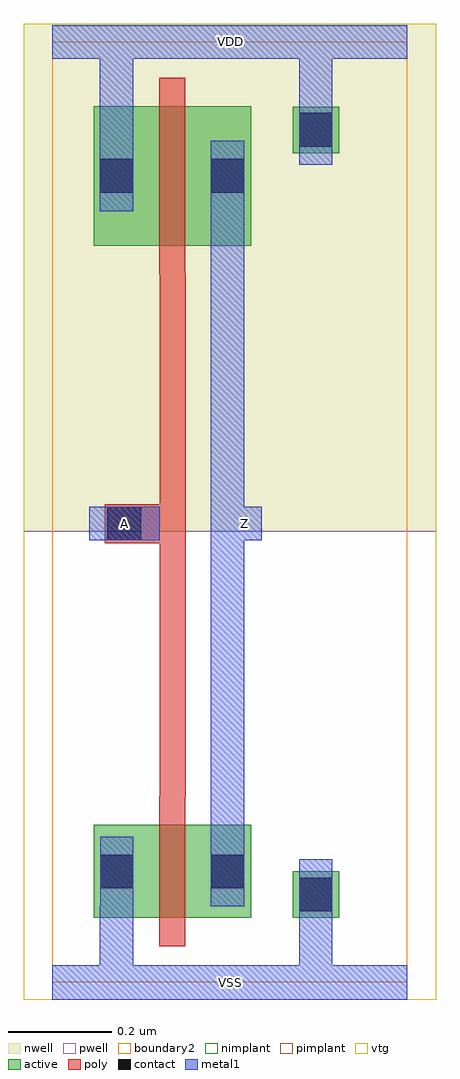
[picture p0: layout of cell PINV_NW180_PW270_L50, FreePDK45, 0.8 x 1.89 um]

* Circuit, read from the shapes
.subckt PINV_NW180_PW270_L50 A VDD VSS Z
M1 Z A VSS VSS nfet w=0.18u l=0.05u
M2 Z A VDD VDD pfet w=0.27u l=0.05u
.ends

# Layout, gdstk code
import gdstk
lib = gdstk.Library(unit=1e-6, precision=1e-09)
def R(c, l, rs):  # rectangles x0, y0, x1, y1
    for r in rs: c.add(gdstk.rectangle(r[:2], r[2:], *l))
active = (1, 0)
pwell = (2, 0)
nwell = (3, 0)
nimplant = (4, 0)
pimplant = (5, 0)
vtg = (6, 0)
poly = (9, 0)
contact = (10, 0)
metal1 = (11, 0)
boundary2 = (239, 0)

transmission_gate_nw250_ = lib.new_cell('TRANSMISSION_GATE_NW250_PW500_L50_contact_8')
R(transmission_gate_nw250_, active, [(0,0.022,0.09,0.112)])
R(transmission_gate_nw250_, nwell, [(-0.055,-0.033,0.145,0.168)])
R(transmission_gate_nw250_, pimplant, [(0,0.022,0.09,0.112)])
R(transmission_gate_nw250_, contact, [(0.013,0.035,0.077,0.1)])
R(transmission_gate_nw250_, metal1, [(0.013,0,0.077,0.135)])
R(transmission_gate_nw250_, boundary2, [(-0.055,-0.033,0.145,0.168)])

pinv_nw180_pw270_l50_pmo = lib.new_cell('PINV_NW180_PW270_L50_pmos_m1_w0_270_sm1_dm1_da_p')
R(pinv_nw180_pw270_l50_pmo, active, [(0,0,0.305,0.27)])
R(pinv_nw180_pw270_l50_pmo, nwell, [(-0.08,-0.08,0.385,0.35)])
R(pinv_nw180_pw270_l50_pmo, pimplant, [(0,0,0.305,0.27)])
R(pinv_nw180_pw270_l50_pmo, vtg, [(-0.08,-0.08,0.385,0.35)])
R(pinv_nw180_pw270_l50_pmo, poly, [(0.127,-0.055,0.177,0.325), (0.127,-0.055,0.177,0.325)])
R(pinv_nw180_pw270_l50_pmo, metal1, [(0.013,0.068,0.077,0.203), (0.227,0.068,0.292,0.203)])
R(pinv_nw180_pw270_l50_pmo, boundary2, [(-0.08,-0.08,0.385,0.35)])
pinv_nw180_pw270_l50_pmo.add(gdstk.Reference(transmission_gate_nw250_, (0,0.068)))
pinv_nw180_pw270_l50_pmo.add(gdstk.Reference(transmission_gate_nw250_, (0.215,0.068)))
pinv_nw180_pw270_l50_pmo.add(gdstk.Label('G', (0.152,0.135), layer=9, texttype=0))
pinv_nw180_pw270_l50_pmo.add(gdstk.Label('S', (0.045,0.135), layer=11, texttype=0))
pinv_nw180_pw270_l50_pmo.add(gdstk.Label('D', (0.26,0.135), layer=11, texttype=0))

c_transmission_gate_nw250_ = lib.new_cell('TRANSMISSION_GATE_NW250_PW500_L50_contact_7')
R(c_transmission_gate_nw250_, active, [(0,0.022,0.09,0.112)])
R(c_transmission_gate_nw250_, pwell, [(-0.055,-0.033,0.145,0.168)])
R(c_transmission_gate_nw250_, nimplant, [(0,0.022,0.09,0.112)])
R(c_transmission_gate_nw250_, contact, [(0.013,0.035,0.077,0.1)])
R(c_transmission_gate_nw250_, metal1, [(0.013,0,0.077,0.135)])
R(c_transmission_gate_nw250_, boundary2, [(-0.055,-0.033,0.145,0.168)])

pinv_nw180_pw270_l50_nmo = lib.new_cell('PINV_NW180_PW270_L50_nmos_m1_w0_180_sm1_dm1_da_p')
R(pinv_nw180_pw270_l50_nmo, active, [(0,0,0.305,0.18)])
R(pinv_nw180_pw270_l50_nmo, pwell, [(-0.08,-0.08,0.385,0.26)])
R(pinv_nw180_pw270_l50_nmo, nimplant, [(0,0,0.305,0.18)])
R(pinv_nw180_pw270_l50_nmo, vtg, [(-0.08,-0.08,0.385,0.26)])
R(pinv_nw180_pw270_l50_nmo, poly, [(0.127,-0.055,0.177,0.235), (0.127,-0.055,0.177,0.235)])
R(pinv_nw180_pw270_l50_nmo, metal1, [(0.013,0.022,0.077,0.157), (0.227,0.022,0.292,0.157)])
R(pinv_nw180_pw270_l50_nmo, boundary2, [(-0.08,-0.08,0.385,0.26)])
pinv_nw180_pw270_l50_nmo.add(gdstk.Reference(c_transmission_gate_nw250_, (0,0.022)))
pinv_nw180_pw270_l50_nmo.add(gdstk.Reference(c_transmission_gate_nw250_, (0.215,0.022)))
pinv_nw180_pw270_l50_nmo.add(gdstk.Label('G', (0.152,0.09), layer=9, texttype=0))
pinv_nw180_pw270_l50_nmo.add(gdstk.Label('S', (0.045,0.09), layer=11, texttype=0))
pinv_nw180_pw270_l50_nmo.add(gdstk.Label('D', (0.26,0.09), layer=11, texttype=0))

c_transmission_gate_nw250__ = lib.new_cell('TRANSMISSION_GATE_NW250_PW500_L50_contact_9')
R(c_transmission_gate_nw250__, active, [(0,0.022,0.09,0.112)])
R(c_transmission_gate_nw250__, nwell, [(-0.055,-0.033,0.145,0.168)])
R(c_transmission_gate_nw250__, nimplant, [(0,0.022,0.09,0.112)])
R(c_transmission_gate_nw250__, contact, [(0.013,0.035,0.077,0.1)])
R(c_transmission_gate_nw250__, metal1, [(0.013,0,0.077,0.135)])
R(c_transmission_gate_nw250__, boundary2, [(-0.055,-0.033,0.145,0.168)])

c_transmission_gate_nw250___ = lib.new_cell('TRANSMISSION_GATE_NW250_PW500_L50_contact_10')
R(c_transmission_gate_nw250___, active, [(0,0.022,0.09,0.112)])
R(c_transmission_gate_nw250___, pwell, [(-0.055,-0.033,0.145,0.168)])
R(c_transmission_gate_nw250___, pimplant, [(0,0.022,0.09,0.112)])
R(c_transmission_gate_nw250___, contact, [(0.013,0.035,0.077,0.1)])
R(c_transmission_gate_nw250___, metal1, [(0.013,0,0.077,0.135)])
R(c_transmission_gate_nw250___, boundary2, [(-0.055,-0.033,0.145,0.168)])

pinv_nw180_pw270_l50_con = lib.new_cell('PINV_NW180_PW270_L50_contact_11')
R(pinv_nw180_pw270_l50_con, poly, [(0.03,0,0.105,0.075)])
R(pinv_nw180_pw270_l50_con, contact, [(0.035,0.005,0.1,0.07)])
R(pinv_nw180_pw270_l50_con, metal1, [(0,0.005,0.135,0.07)])
R(pinv_nw180_pw270_l50_con, boundary2, [(0,0,0.135,0.075)])

pinv_nw180_pw270_l50_cor = lib.new_cell('PINV_NW180_PW270_L50_core')
R(pinv_nw180_pw270_l50_cor, pwell, [(-0.055,-0.033,0.743,0.873)])
R(pinv_nw180_pw270_l50_cor, nwell, [(-0.055,0.873,0.743,1.855)])
R(pinv_nw180_pw270_l50_cor, vtg, [(-0.055,-0.033,0.743,0.873), (-0.055,0.873,0.743,1.855)])
R(pinv_nw180_pw270_l50_cor, poly, [(0.208,0.36,0.258,1.37), (0.14,0.85,0.208,0.925)])
R(pinv_nw180_pw270_l50_cor, metal1, [(0,-0.033,0.687,0.033), (0.092,-0.033,0.157,0.147), (0.478,0,0.542,0.17), (0.307,0.147,0.372,1.627), (0.072,0.855,0.208,0.92), (0.34,0.855,0.405,0.92), (0.092,1.492,0.157,1.852), (0.478,1.65,0.542,1.82), (0,1.787,0.687,1.852)])
R(pinv_nw180_pw270_l50_cor, boundary2, [(0,0,0.687,1.82), (0,0,0.687,1.82)])
pinv_nw180_pw270_l50_cor.add(gdstk.Reference(pinv_nw180_pw270_l50_pmo, (0.08,1.425)))
pinv_nw180_pw270_l50_cor.add(gdstk.Reference(pinv_nw180_pw270_l50_nmo, (0.08,0.125)))
pinv_nw180_pw270_l50_cor.add(gdstk.Reference(c_transmission_gate_nw250__, (0.465,1.582)))
pinv_nw180_pw270_l50_cor.add(gdstk.Reference(c_transmission_gate_nw250___, (0.465,0.103)))
pinv_nw180_pw270_l50_cor.add(gdstk.Reference(pinv_nw180_pw270_l50_con, (0.072,0.85)))
pinv_nw180_pw270_l50_cor.add(gdstk.Label('A', (0.14,0.888), layer=11, texttype=0))
pinv_nw180_pw270_l50_cor.add(gdstk.Label('Z', (0.372,0.888), layer=11, texttype=0))
pinv_nw180_pw270_l50_cor.add(gdstk.Label('gnd', (0.344,0), layer=11, texttype=0))
pinv_nw180_pw270_l50_cor.add(gdstk.Label('vdd', (0.344,1.82), layer=11, texttype=0))

pinv_nw180_pw270_l50 = lib.new_cell('PINV_NW180_PW270_L50')
R(pinv_nw180_pw270_l50, metal1, [(0,-0.033,0.687,0.033), (0.072,0.855,0.208,0.92), (0.34,0.855,0.405,0.92), (0,1.787,0.687,1.852)])
R(pinv_nw180_pw270_l50, boundary2, [(0,0,0.687,1.82)])
pinv_nw180_pw270_l50.add(gdstk.Reference(pinv_nw180_pw270_l50_cor, (0,0)))
pinv_nw180_pw270_l50.add(gdstk.Label('A', (0.14,0.888), layer=11, texttype=0))
pinv_nw180_pw270_l50.add(gdstk.Label('Z', (0.372,0.888), layer=11, texttype=0))
pinv_nw180_pw270_l50.add(gdstk.Label('VDD', (0.344,1.82), layer=11, texttype=0))
pinv_nw180_pw270_l50.add(gdstk.Label('VSS', (0.344,0), layer=11, texttype=0))

lib.write_gds('PINV_NW180_PW270_L50.gds')
